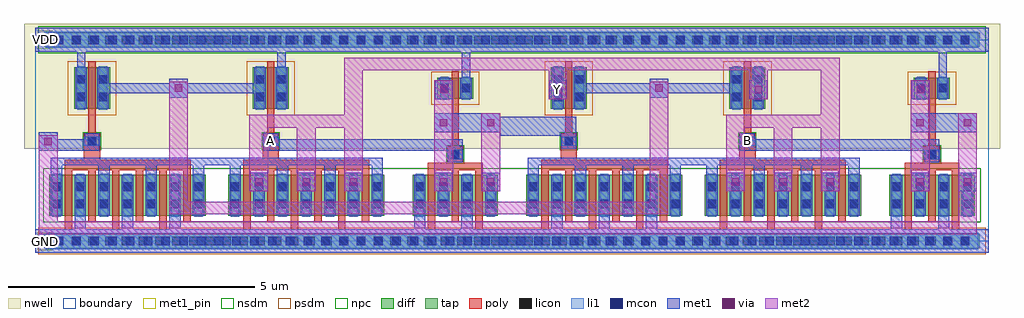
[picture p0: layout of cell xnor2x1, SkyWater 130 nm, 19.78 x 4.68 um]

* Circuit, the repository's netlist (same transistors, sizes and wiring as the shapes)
** sch_path: /foss/designs/xnor2x1.sch
.subckt xnor2x1 A B Y VDD GND
*.PININFO A:I B:I Y:O VDD:B GND:B
XM9 Abar A GND GND sky130_fd_pr__nfet_01v8 L=0.15 W=2.52 nf=3
XM10 Abar A VDD VDD sky130_fd_pr__pfet_01v8 L=0.15 W=0.42 nf=1
XM2 Y A net1 GND sky130_fd_pr__nfet_01v8 L=0.15 W=5.04 nf=6
XM5 net3 A VDD VDD sky130_fd_pr__pfet_01v8 L=0.15 W=0.84 nf=1
XM12 Bbar B VDD VDD sky130_fd_pr__pfet_01v8 L=0.15 W=0.42 nf=1
XM11 Bbar B GND GND sky130_fd_pr__nfet_01v8 L=0.15 W=2.52 nf=3
XM1 net1 Bbar GND GND sky130_fd_pr__nfet_01v8 L=0.15 W=5.04 nf=6
XM3 net2 Abar GND GND sky130_fd_pr__nfet_01v8 L=0.15 W=5.04 nf=6
XM4 Y B net2 GND sky130_fd_pr__nfet_01v8 L=0.15 W=5.04 nf=6
XM6 Y B net3 VDD sky130_fd_pr__pfet_01v8 L=0.15 W=0.84 nf=1
XM8 Y Abar net3 VDD sky130_fd_pr__pfet_01v8 L=0.15 W=0.84 nf=1
XM7 net3 Bbar VDD VDD sky130_fd_pr__pfet_01v8 L=0.15 W=0.84 nf=1
.ends

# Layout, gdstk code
import gdstk
lib = gdstk.Library(unit=1e-6, precision=1e-09)
def R(c, l, rs):  # rectangles x0, y0, x1, y1
    for r in rs: c.add(gdstk.rectangle(r[:2], r[2:], *l))
def A(c, l, x, y, w, h, nx, ny, dx, dy):  # array of equal rectangles
    R(c, l, [(x+i*dx, y+j*dy, x+i*dx+w, y+j*dy+h) for i in range(nx) for j in range(ny)])
nwell = (64, 20)
diff = (65, 20)
tap = (65, 44)
poly = (66, 20)
licon = (66, 44)
li1 = (67, 20)
mcon = (67, 44)
met1_pin = (68, 16)
met1 = (68, 20)
via = (68, 44)
met2 = (69, 20)
nsdm = (93, 44)
psdm = (94, 20)
npc = (95, 20)
boundary = (235, 4)

sky130_fd_pr__nfet_01v8_ = lib.new_cell('sky130_fd_pr__nfet_01v8_6WXBLA')
R(sky130_fd_pr__nfet_01v8_, diff, [(-1.585,-0.42,1.585,0.42)])
A(sky130_fd_pr__nfet_01v8_, poly, -1.275, -0.695, 0.15, 1.245, 3, 1, 0.96, 0)
A(sky130_fd_pr__nfet_01v8_, poly, -0.795, -0.55, 0.15, 1.245, 3, 1, 0.96, 0)
A(sky130_fd_pr__nfet_01v8_, licon, -1.525, -0.255, 0.17, 0.17, 7, 2, 0.48, 0.34)
A(sky130_fd_pr__nfet_01v8_, li1, -1.525, -0.44, 0.17, 0.88, 7, 1, 0.48, 0)
A(sky130_fd_pr__nfet_01v8_, mcon, -1.525, -0.265, 0.17, 0.17, 7, 2, 0.48, 0.36)
A(sky130_fd_pr__nfet_01v8_, met1, -1.555, -0.42, 0.23, 0.84, 7, 1, 0.48, 0)
R(sky130_fd_pr__nfet_01v8_, nsdm, [(-1.71,-0.545,1.71,0.545)])
sky130_fd_pr__nfet_01v8_.add(gdstk.Label('D0', (-1.44,0), layer=67, texttype=5))
sky130_fd_pr__nfet_01v8_.add(gdstk.Label('S1', (-0.96,0), layer=67, texttype=5))
sky130_fd_pr__nfet_01v8_.add(gdstk.Label('D2', (-0.48,0), layer=67, texttype=5))
sky130_fd_pr__nfet_01v8_.add(gdstk.Label('S3', (0,0), layer=67, texttype=5))
sky130_fd_pr__nfet_01v8_.add(gdstk.Label('D4', (0.48,0), layer=67, texttype=5))
sky130_fd_pr__nfet_01v8_.add(gdstk.Label('S5', (0.96,0), layer=67, texttype=5))

c_sky130_fd_pr__nfet_01v8_ = lib.new_cell('sky130_fd_pr__nfet_01v8_RPKUUV')
R(c_sky130_fd_pr__nfet_01v8_, diff, [(-0.865,-0.42,0.865,0.42)])
R(c_sky130_fd_pr__nfet_01v8_, poly, [(-0.555,-0.695,-0.405,0.55), (0.405,-0.695,0.555,0.55), (-0.075,-0.55,0.075,0.695)])
A(c_sky130_fd_pr__nfet_01v8_, licon, -0.805, -0.255, 0.17, 0.17, 4, 2, 0.48, 0.34)
A(c_sky130_fd_pr__nfet_01v8_, li1, -0.805, -0.44, 0.17, 0.88, 4, 1, 0.48, 0)
A(c_sky130_fd_pr__nfet_01v8_, mcon, -0.805, -0.265, 0.17, 0.17, 4, 2, 0.48, 0.36)
A(c_sky130_fd_pr__nfet_01v8_, met1, -0.835, -0.42, 0.23, 0.84, 4, 1, 0.48, 0)
R(c_sky130_fd_pr__nfet_01v8_, nsdm, [(-0.99,-0.545,0.99,0.545)])
c_sky130_fd_pr__nfet_01v8_.add(gdstk.Label('D0', (-0.72,0), layer=67, texttype=5))
c_sky130_fd_pr__nfet_01v8_.add(gdstk.Label('S1', (-0.24,0), layer=67, texttype=5))
c_sky130_fd_pr__nfet_01v8_.add(gdstk.Label('D2', (0.24,0), layer=67, texttype=5))
c_sky130_fd_pr__nfet_01v8_.add(gdstk.Label('S2', (0.72,0), layer=67, texttype=5))

sky130_fd_pr__pfet_01v8_ = lib.new_cell('sky130_fd_pr__pfet_01v8_W5J8BK')
R(sky130_fd_pr__pfet_01v8_, nwell, [(-0.545,-0.73,0.545,0.73)])
R(sky130_fd_pr__pfet_01v8_, diff, [(-0.365,-0.42,0.365,0.42)])
R(sky130_fd_pr__pfet_01v8_, poly, [(-0.075,-0.55,0.075,0.55)])
R(sky130_fd_pr__pfet_01v8_, licon, [(-0.305,-0.255,-0.135,-0.085), (0.135,-0.255,0.305,-0.085), (-0.305,0.085,-0.135,0.255), (0.135,0.085,0.305,0.255)])
R(sky130_fd_pr__pfet_01v8_, li1, [(-0.305,-0.44,-0.135,0.44), (0.135,-0.44,0.305,0.44)])
R(sky130_fd_pr__pfet_01v8_, mcon, [(-0.305,-0.265,-0.135,-0.095), (0.135,-0.265,0.305,-0.095), (-0.305,0.095,-0.135,0.265), (0.135,0.095,0.305,0.265)])
R(sky130_fd_pr__pfet_01v8_, met1, [(-0.335,-0.42,-0.105,0.42), (0.105,-0.42,0.335,0.42)])
R(sky130_fd_pr__pfet_01v8_, psdm, [(-0.49,-0.545,0.49,0.545)])
sky130_fd_pr__pfet_01v8_.add(gdstk.Label('D', (-0.22,0), layer=67, texttype=5))
sky130_fd_pr__pfet_01v8_.add(gdstk.Label('S', (0.22,0), layer=67, texttype=5))

c_sky130_fd_pr__pfet_01v8_ = lib.new_cell('sky130_fd_pr__pfet_01v8_YNU6YZ')
R(c_sky130_fd_pr__pfet_01v8_, nwell, [(-0.545,-0.52,0.545,0.52)])
R(c_sky130_fd_pr__pfet_01v8_, diff, [(-0.365,-0.21,0.365,0.21)])
R(c_sky130_fd_pr__pfet_01v8_, poly, [(-0.075,-0.34,0.075,0.34)])
R(c_sky130_fd_pr__pfet_01v8_, licon, [(-0.305,-0.085,-0.135,0.085), (0.135,-0.085,0.305,0.085)])
R(c_sky130_fd_pr__pfet_01v8_, li1, [(-0.305,-0.23,-0.135,0.23), (0.135,-0.23,0.305,0.23)])
R(c_sky130_fd_pr__pfet_01v8_, mcon, [(-0.305,-0.085,-0.135,0.085), (0.135,-0.085,0.305,0.085)])
R(c_sky130_fd_pr__pfet_01v8_, met1, [(-0.335,-0.21,-0.105,0.21), (0.105,-0.21,0.335,0.21)])
R(c_sky130_fd_pr__pfet_01v8_, psdm, [(-0.49,-0.335,0.49,0.335)])
c_sky130_fd_pr__pfet_01v8_.add(gdstk.Label('D', (-0.22,0), layer=67, texttype=5))
c_sky130_fd_pr__pfet_01v8_.add(gdstk.Label('S', (0.22,0), layer=67, texttype=5))

xnor2x1 = lib.new_cell('xnor2x1')
R(xnor2x1, nwell, [(-0.23,1.87,19.55,4.41)])
R(xnor2x1, tap, [(0.18,-0.145,19.14,0.145), (0.18,3.935,19.14,4.225)])
R(xnor2x1, poly, [(0.595,1.44,3.145,1.65), (4.215,1.44,6.765,1.65), (7.955,1.44,9.065,1.59), (10.255,1.44,12.805,1.65), (13.875,1.44,16.425,1.65), (17.615,1.44,18.725,1.59), (8.345,1.59,8.675,1.92), (18.005,1.59,18.335,1.92), (0.985,1.65,1.315,2.19), (4.605,1.65,4.935,2.19), (10.645,1.65,10.975,2.19), (14.265,1.65,14.595,2.19), (8.435,1.92,8.585,2.95), (18.095,1.92,18.245,2.95), (1.075,2.19,1.225,2.8), (4.695,2.19,4.845,2.8), (10.735,2.19,10.885,2.8), (14.355,2.19,14.505,2.8)])
A(xnor2x1, licon, 0.395, -0.085, 0.17, 0.17, 55, 2, 0.34, 4.08)
R(xnor2x1, licon, [(8.425,1.67,8.595,1.84), (18.085,1.67,18.255,1.84), (1.065,1.94,1.235,2.11), (4.685,1.94,4.855,2.11), (10.725,1.94,10.895,2.11), (14.345,1.94,14.515,2.11)])
R(xnor2x1, li1, [(0.21,-0.165,19.11,0.165), (8.345,1.66,8.675,1.85), (18.005,1.66,18.335,1.85), (0.985,1.93,1.315,2.12), (4.605,1.93,4.935,2.12), (10.645,1.93,10.975,2.12), (14.265,1.93,14.595,2.12), (0.21,3.915,19.11,4.245)])
A(xnor2x1, mcon, 0.395, -0.085, 0.17, 0.17, 52, 2, 0.36, 4.08)
R(xnor2x1, mcon, [(8.425,1.67,8.595,1.84), (18.085,1.67,18.255,1.84), (1.065,1.94,1.235,2.11), (4.685,1.94,4.855,2.11), (10.725,1.94,10.895,2.11), (14.345,1.94,14.515,2.11)])
R(xnor2x1, met1_pin, [(0.05,-0.18,0.35,0.18), (4.62,1.87,4.92,2.19), (14.28,1.87,14.58,2.19), (10.41,2.88,10.77,3.26), (0.05,3.9,0.35,4.26)])
A(xnor2x1, met1, 0.795, 0.24, 0.23, 0.36, 3, 1, 0.96, 0)
A(xnor2x1, met1, 10.455, 0.24, 0.23, 0.36, 3, 1, 0.96, 0)
A(xnor2x1, met1, 4.34, 1.01, 0.38, 0.38, 3, 1, 0.96, 0)
A(xnor2x1, met1, 14, 1.01, 0.38, 0.38, 3, 1, 0.96, 0)
A(xnor2x1, met1, 0.315, 1.25, 0.23, 0.29, 4, 1, 0.96, 0)
A(xnor2x1, met1, 3.935, 1.25, 0.23, 0.29, 4, 1, 0.96, 0)
A(xnor2x1, met1, 9.975, 1.25, 0.23, 0.29, 4, 1, 0.96, 0)
A(xnor2x1, met1, 13.595, 1.25, 0.23, 0.29, 4, 1, 0.96, 0)
R(xnor2x1, met1, [(0,-0.24,19.32,0.24), (7.675,0.24,7.905,0.6), (8.635,0.24,8.865,0.6), (17.335,0.24,17.565,0.6), (18.295,0.24,18.525,0.6), (8.08,1.01,8.46,1.39), (9.04,1.01,9.42,1.39), (17.74,1.01,18.12,1.39), (18.7,1.01,19.08,1.39), (0.315,1.54,7.045,1.69), (9.975,1.54,16.705,1.69), (8.36,1.6,8.66,1.83), (18.02,1.6,18.32,1.83), (0.07,1.83,1.3,2.07), (4.62,1.83,8.66,2.07), (14.28,1.83,18.32,2.07), (10.66,1.87,10.96,2.14), (0.07,2.07,0.45,2.21), (1,2.07,1.3,2.19), (4.62,2.07,4.92,2.19), (14.28,2.07,14.58,2.19), (9.42,2.14,10.96,2.21), (8.08,2.21,10.96,2.52), (17.74,2.21,19.08,2.59), (8.08,2.52,9.42,2.59), (8.1,2.88,8.46,3.26), (10.41,2.88,10.77,3.26), (14.47,2.88,14.83,3.26), (17.76,2.88,18.12,3.26), (2.71,2.91,3.09,3), (12.45,2.91,12.83,3), (1.255,3,4.665,3.2), (10.915,3,14.325,3.2), (2.71,3.2,3.09,3.29), (12.45,3.2,12.83,3.29), (8.645,3.25,8.815,3.84), (18.305,3.25,18.475,3.84), (0.845,3.4,1.015,3.84), (4.905,3.4,5.075,3.84), (0,3.84,19.32,4.32)])
A(xnor2x1, via, 4.455, 1.125, 0.15, 0.15, 3, 1, 0.96, 0)
A(xnor2x1, via, 14.115, 1.125, 0.15, 0.15, 3, 1, 0.96, 0)
R(xnor2x1, via, [(8.195,1.125,8.345,1.275), (9.155,1.125,9.305,1.275), (17.855,1.125,18.005,1.275), (18.815,1.125,18.965,1.275), (0.185,1.945,0.335,2.095), (8.195,2.325,8.345,2.475), (9.155,2.325,9.305,2.475), (17.855,2.325,18.005,2.475), (18.815,2.325,18.965,2.475), (8.205,2.995,8.355,3.145), (10.515,2.995,10.665,3.145), (14.575,2.995,14.725,3.145), (17.865,2.995,18.015,3.145), (2.825,3.025,2.975,3.175), (12.565,3.025,12.715,3.175)])
A(xnor2x1, met2, 4.34, 1.01, 0.38, 1.29, 3, 1, 0.96, 0)
A(xnor2x1, met2, 14, 1.01, 0.38, 1.29, 3, 1, 0.96, 0)
R(xnor2x1, met2, [(0.07,0.14,19.08,0.4), (0.07,0.4,0.45,2.15), (18.7,0.4,19.08,2.59), (2.71,0.54,12.83,0.8), (2.71,0.8,3.09,3.23), (12.45,0.8,12.83,3.23), (8.08,1.01,8.47,3.26), (9.04,1.01,9.42,2.59), (17.74,1.01,18.13,3.26), (4.34,2.3,6.64,2.56), (14,2.3,16.3,2.56), (6.26,2.56,6.64,3.46), (15.92,2.56,16.3,3.46), (10.4,2.88,10.78,3.46), (14.46,2.88,14.84,3.46), (6.26,3.46,16.3,3.72)])
R(xnor2x1, nsdm, [(3.58,0.385,3.78,1.475), (7.2,0.385,7.52,1.475), (9.5,0.385,9.82,1.475), (13.24,0.385,13.44,1.475), (16.86,0.385,17.18,1.475), (0.055,3.81,19.265,4.35)])
R(xnor2x1, psdm, [(0.055,-0.27,19.265,0.27)])
R(xnor2x1, npc, [(8.325,1.57,8.695,1.94), (17.985,1.57,18.355,1.94), (0.965,1.84,1.335,2.21), (4.585,1.84,4.955,2.21), (10.625,1.84,10.995,2.21), (14.245,1.84,14.615,2.21)])
R(xnor2x1, boundary, [(0,0,19.32,4.08)])
xnor2x1.add(gdstk.Reference(sky130_fd_pr__nfet_01v8_, (1.87,0.93)))
xnor2x1.add(gdstk.Reference(sky130_fd_pr__nfet_01v8_, (5.49,0.93)))
xnor2x1.add(gdstk.Reference(c_sky130_fd_pr__nfet_01v8_, (8.51,0.93)))
xnor2x1.add(gdstk.Reference(sky130_fd_pr__nfet_01v8_, (11.53,0.93)))
xnor2x1.add(gdstk.Reference(sky130_fd_pr__nfet_01v8_, (15.15,0.93)))
xnor2x1.add(gdstk.Reference(c_sky130_fd_pr__nfet_01v8_, (18.17,0.93)))
xnor2x1.add(gdstk.Reference(sky130_fd_pr__pfet_01v8_, (1.15,3.1)))
xnor2x1.add(gdstk.Reference(sky130_fd_pr__pfet_01v8_, (4.77,3.1)))
xnor2x1.add(gdstk.Reference(c_sky130_fd_pr__pfet_01v8_, (8.51,3.1)))
xnor2x1.add(gdstk.Reference(sky130_fd_pr__pfet_01v8_, (10.81,3.1)))
xnor2x1.add(gdstk.Reference(sky130_fd_pr__pfet_01v8_, (14.43,3.1)))
xnor2x1.add(gdstk.Reference(c_sky130_fd_pr__pfet_01v8_, (18.17,3.1)))
xnor2x1.add(gdstk.Label('A', (4.77,2.03), layer=68, texttype=5))
xnor2x1.add(gdstk.Label('B', (14.43,2.03), layer=68, texttype=5))
xnor2x1.add(gdstk.Label('Y', (10.59,3.07), layer=68, texttype=5))
xnor2x1.add(gdstk.Label('VDD', (0.2,4.08), layer=68, texttype=5))
xnor2x1.add(gdstk.Label('GND', (0.2,0), layer=68, texttype=5))

lib.write_gds('xnor2x1.gds')
